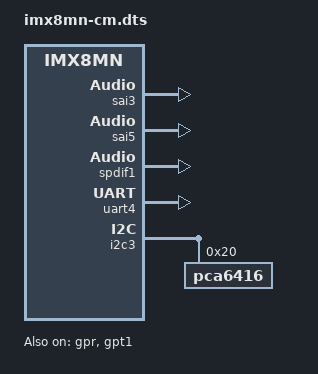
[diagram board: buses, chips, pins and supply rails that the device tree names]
/dts-v1/;

#include "imx8mn.dtsi"
#include <iomux.h>

#define GPIO_DESC_REQUESTED         1
#define GPIO_DESC_OUTPUT            2
#define GPIO_DESC_INPUT             4
#define GPIO_DESC_ACTIVE_LOW        8
#define GPIO_DESC_OUTPUT_ACTIVE     16

/ {
    compatible = "nxp,imx8mn,rev1";
    #address-cells = < 0x02 >;
    #size-cells = < 0x02 >;

    aliases {
        console = &uart4;
    };

    meminfo {
        phys_start = < 0x80000000 >;
        size = < 0x20000000 >;
    };

    ivshmem:ivshmem {
    };

    jailhouse:jailhouse {
        comm_region = < 0x60000000 0x1000 >;
        /* Following not used on ABI revision 2 */
        pci_region = < 0xbb800000 0x100000 >;
        irq = < 156 >;
    };

    rpmsg-wd {
        compatible = "imx_ivshm_binary";
        size = <0x200>; /* Endpoint buffer 512B */
        buffer_bytes = <0x200>; /* binary buffer 512B */
        id = <0x202>;
        status = "ok";
    };

    lktraces {
        compatible = "imx_ivshm_binary";
        size = <0x200>; /* Endpoint buffer 512B */
        buffer_bytes = <0x200>; /* binary buffer size 512B */
        id = <0x200>;
        status = "disabled";
    };
};

&gpr {
    status = "ok";

    init = < 2 0x0 6 0x0 7 0x0 8 0x0 >;
};

&sdma2 {
    status = "ok";
    #include "sdma-fw.dtsi"
};

&sdma3 {
    status = "ok";
    #include "sdma-fw.dtsi"
};

&sai2 {
    status = "disabled";

    pinctrl-names = "default";
    pinctrl-0 = <
        IOMUXC_SAI2_MCLK_SAI2_MCLK       0   0x8A
        IOMUXC_SAI2_TXC_SAI2_TX_BCLK     0   0x8A
        IOMUXC_SAI2_TXFS_SAI2_TX_SYNC    0   0x8A
        IOMUXC_SAI2_TXD0_SAI2_TX_DATA0   0   0x8A
        IOMUXC_SAI2_RXD0_SAI2_TX_DATA1   0   0x8A
    >;
};

&sai3 {
    status = "ok";

    pinctrl-names = "default";
    pinctrl-0 = <
        IOMUXC_SAI3_MCLK_SAI3_MCLK      0   0x8A
        IOMUXC_SAI3_TXC_SAI3_TX_BCLK    0   0x8A
        IOMUXC_SAI3_TXFS_SAI3_TX_SYNC   0   0x8A
        IOMUXC_SAI3_TXD_SAI3_TX_DATA0   0   0x8A
        IOMUXC_SAI3_RXD_SAI3_TX_DATA1   0   0x8A
    >;
};

&sai5 {
    status = "ok";

    pinctrl-names = "default";
    pinctrl-0 = <
        IOMUXC_SAI5_MCLK_SAI5_MCLK      0   0x8A
        IOMUXC_SAI5_RXC_SAI5_RX_BCLK    0   0x8A
        IOMUXC_SAI5_RXD0_SAI5_RX_DATA0  0   0x8A
        IOMUXC_SAI5_RXD1_SAI5_RX_DATA1  0   0x8A
        IOMUXC_SAI5_RXD2_SAI5_RX_DATA2  0   0x8A
        IOMUXC_SAI5_RXD3_SAI5_RX_DATA3  0   0x8A
        IOMUXC_SAI5_RXFS_SAI5_RX_SYNC   0   0x8A
    >;
};

&sai6 {
    status = "disabled";
};

&spdif1 {
    status = "ok";
    dma-period-length = <2048>;
    dma-nr-period = <4>;

    pinctrl-names = "default";
    pinctrl-0 = <
        IOMUXC_SPDIF_RX_SPDIF1_IN           0   0x196
        IOMUXC_SPDIF_TX_SPDIF1_OUT          0   0
        IOMUXC_SPDIF_EXT_CLK_SPDIF1_EXT_CLK 0   0
    >;
};

&gpt1 {
    status = "ok";

    pinctrl-names = "default";
    pinctrl-0 = <
        IOMUXC_SAI3_RXFS_GPT1_CAPTURE1          0   0x100
    >;
};

&uart4 {
    status = "ok";

    pinctrl-names = "default";
    pinctrl-0 = <
        IOMUXC_UART4_TXD_UART4_TX 0 0x16
        IOMUXC_UART4_RXD_UART4_RX 0 0x16
    >;
};

&i2c3 {
    status = "ok";
    pinctrl-names = "default";
    pinctrl-0 = <
        IOMUXC_I2C3_SCL_I2C3_SCL 1 0x86
        IOMUXC_I2C3_SDA_I2C3_SDA 1 0x86
    >;


    pca6416: pca6416@20 {
        compatible = "pca6416";
        gpio-controller;
        #gpio-cells = < 2 >;

        reg = < 0x20 >;
        reg-names = "core";

        interrupts = <96>;
        interrupt-names = "core";

        pinctrl-names = "default";
        pinctrl-0 = <
            IOMUXC_GPIO1_IO12_GPIO1_IO12 1 0x140
        >;

        status = "ok";
        /* TODO: Add GPIO definition */
    };

};
